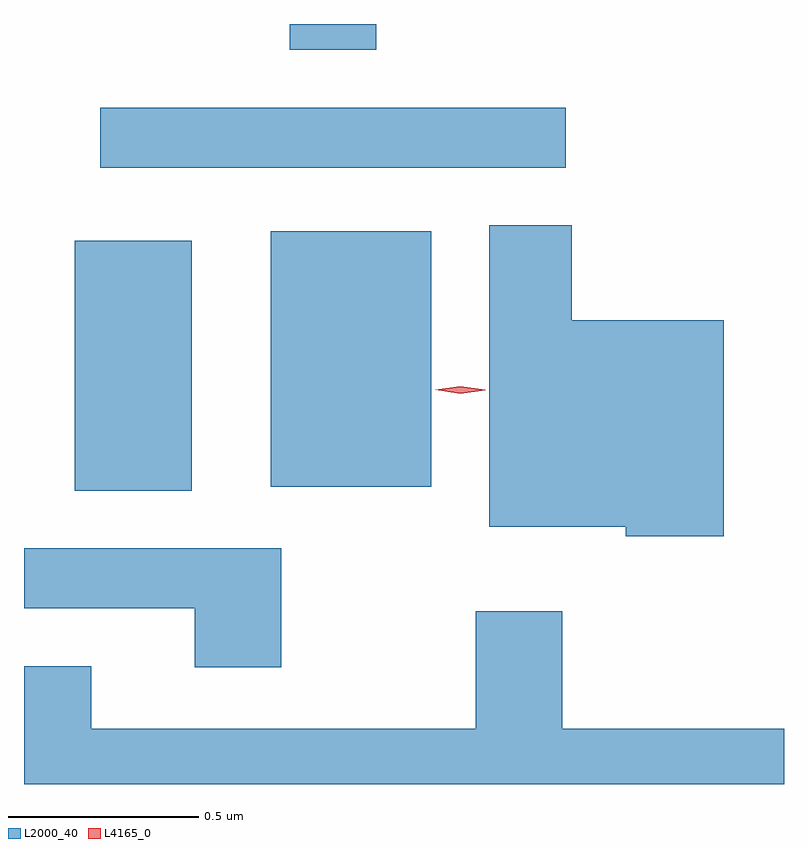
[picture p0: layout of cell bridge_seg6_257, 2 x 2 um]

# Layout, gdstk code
import gdstk
lib = gdstk.Library(unit=1e-6, precision=1e-09)
def R(c, l, rs):  # rectangles x0, y0, x1, y1
    for r in rs: c.add(gdstk.rectangle(r[:2], r[2:], *l))
def P(c, l, *ps):  # polygons
    for p in ps: c.add(gdstk.Polygon(p, *l))
L2000_40 = (2000, 40)
L4165_0 = (4165, 0)

bridge_seg6_257 = lib.new_cell('bridge_seg6_257')
R(bridge_seg6_257, L2000_40, [(1406.696,1586.451,1407.004,1587.109), (1407.211,1586.461,1407.634,1587.134), (1406.763,1587.301,1407.988,1587.459), (1407.261,1587.611,1407.489,1587.679)])
P(bridge_seg6_257, L2000_40, [(1408.404,1586.899),(1408.004,1586.899),(1408.004,1587.149),(1407.786,1587.149),(1407.786,1586.356),(1408.146,1586.356),(1408.146,1586.331),(1408.404,1586.331)],
  [(1407.239,1586.299),(1406.562,1586.299),(1406.562,1586.141),(1407.011,1586.141),(1407.011,1585.986),(1407.239,1585.986)],
  [(1408.562,1585.824),(1407.979,1585.824),(1407.979,1586.134),(1407.751,1586.134),(1407.751,1585.824),(1406.739,1585.824),(1406.739,1585.989),(1406.562,1585.989),(1406.562,1585.679),(1408.562,1585.679)])
P(bridge_seg6_257, L4165_0, [(1407.71,1586.706),(1407.644,1586.716),(1407.644,1586.716),(1407.644,1586.717),(1407.71,1586.726),(1407.776,1586.716),(1407.776,1586.715),(1407.776,1586.715)])

lib.write_gds('bridge_seg6_257.gds')
